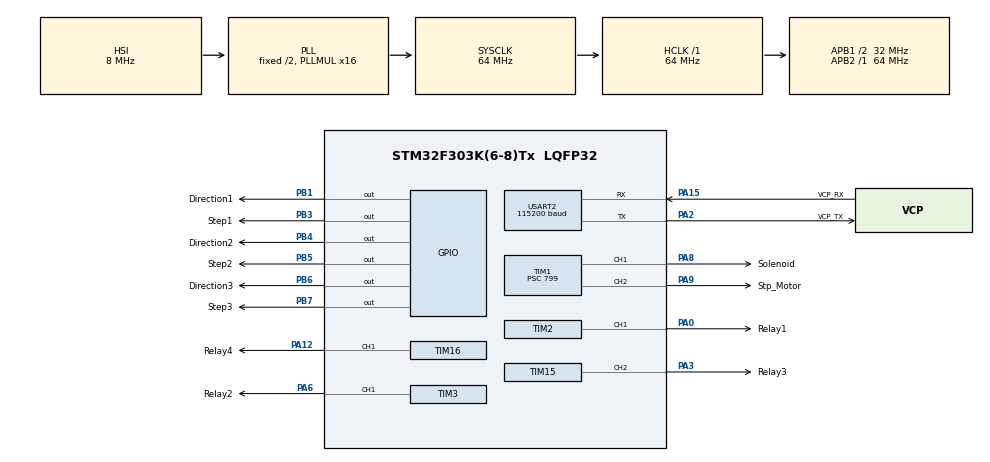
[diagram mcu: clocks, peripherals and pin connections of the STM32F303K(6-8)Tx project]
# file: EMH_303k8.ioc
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Mcu.Family=STM32F3
Mcu.Name=STM32F303K(6-8)Tx
Mcu.Package=LQFP32
NVIC.PriorityGroup=NVIC_PRIORITYGROUP_4
NVIC.TIM1_TRG_COM_TIM17_IRQn=true\:0\:0\:false\:false\:true\:true\:true\:true
NVIC.TIM1_UP_TIM16_IRQn=true\:0\:0\:false\:false\:true\:true\:true\:true
NVIC.TIM6_DAC1_IRQn=true\:0\:0\:false\:false\:true\:true\:true\:true
NVIC.TIM7_DAC2_IRQn=true\:0\:0\:false\:false\:true\:true\:true\:true
NVIC.USART2_IRQn=true\:0\:0\:false\:false\:true\:true\:true\:true
PA0.GPIO_Label=Relay1
PA0.Signal=S_TIM2_CH1_ETR
PA12.GPIO_Label=Relay4
PA12.Signal=S_TIM16_CH1
PA13.GPIO_Label=SWDIO
PA13.Mode=Serial_Wire
PA13.Signal=SYS_JTMS-SWDIO
PA14.GPIO_Label=SWCLK
PA14.Mode=Serial_Wire
PA14.Signal=SYS_JTCK-SWCLK
PA15.GPIO_Label=VCP_RX
PA15.Mode=Asynchronous
PA15.Signal=USART2_RX
PA2.GPIO_Label=VCP_TX
PA2.Mode=Asynchronous
PA2.Signal=USART2_TX
PA3.GPIO_Label=Relay3
PA3.Signal=S_TIM15_CH2
PA6.GPIO_Label=Relay2
PA6.Signal=S_TIM3_CH1
PA8.GPIO_Label=Solenoid
PA8.Signal=S_TIM1_CH1
PA9.GPIO_Label=Stp_Motor
PA9.Signal=S_TIM1_CH2
PB1.GPIO_Label=Direction1
PB1.Signal=GPIO_Output
PB3.GPIO_Label=Step1
PB3.Signal=GPIO_Output
PB4.GPIO_Label=Direction2
PB4.Signal=GPIO_Output
PB5.GPIO_Label=Step2
PB5.Signal=GPIO_Output
PB6.GPIO_Label=Direction3
PB6.Signal=GPIO_Output
PB7.GPIO_Label=Step3
PB7.Signal=GPIO_Output
PF0\ /\ OSC_IN.GPIO_Label=MCO
PF0\ /\ OSC_IN.Mode=HSE-External-Clock-Source
PF0\ /\ OSC_IN.Signal=RCC_OSC_IN
ProjectManager.HeapSize=0x200
ProjectManager.StackSize=0x400
ProjectManager.TargetToolchain=STM32CubeIDE
RCC.AHBFreq_Value=64000000
RCC.APB1CLKDivider=RCC_HCLK_DIV2
RCC.APB1Freq_Value=32000000
RCC.APB1TimFreq_Value=64000000
RCC.APB2Freq_Value=64000000
RCC.APB2TimFreq_Value=64000000
RCC.CortexFreq_Value=64000000
RCC.HCLKFreq_Value=64000000
RCC.HSE_VALUE=8000000
RCC.HSI_VALUE=8000000
RCC.PLLMUL=RCC_PLL_MUL16
RCC.SYSCLKFreq_VALUE=64000000
RCC.SYSCLKSourceVirtual=RCC_SYSCLKSOURCE_PLLCLK
SH.S_TIM15_CH2.0=TIM15_CH2,PWM Generation2 CH2
SH.S_TIM16_CH1.0=TIM16_CH1,PWM Generation1 CH1
SH.S_TIM1_CH1.0=TIM1_CH1,PWM Generation1 CH1
SH.S_TIM1_CH2.0=TIM1_CH2,PWM Generation2 CH2
SH.S_TIM2_CH1_ETR.0=TIM2_CH1,PWM Generation1 CH1
SH.S_TIM3_CH1.0=TIM3_CH1,PWM Generation1 CH1
TIM1.Channel-PWM\ Generation1\ CH1=TIM_CHANNEL_1
TIM1.Channel-PWM\ Generation2\ CH2=TIM_CHANNEL_2
TIM1.Period=99
TIM1.Prescaler=799
TIM15.Channel-PWM\ Generation2\ CH2=TIM_CHANNEL_2
TIM15.Period=99
TIM15.Prescaler=799
TIM16.Channel=TIM_CHANNEL_1
TIM16.Period=99
TIM16.Prescaler=799
TIM17.AutoReloadPreload=TIM_AUTORELOAD_PRELOAD_ENABLE
TIM17.Period=99
TIM17.Prescaler=799
TIM2.Channel-PWM\ Generation1\ CH1=TIM_CHANNEL_1
TIM2.Period=99
TIM2.Prescaler=799
TIM3.Channel-PWM\ Generation1\ CH1=TIM_CHANNEL_1
TIM3.Period=99
TIM3.Prescaler=799
TIM6.AutoReloadPreload=TIM_AUTORELOAD_PRELOAD_ENABLE
TIM6.Period=99
TIM6.Prescaler=799
TIM7.AutoReloadPreload=TIM_AUTORELOAD_PRELOAD_ENABLE
TIM7.Period=99
TIM7.Prescaler=799
USART2.BaudRate=115200
USART2.VirtualMode-Asynchronous=VM_ASYNC
VP_TIM15_VS_ClockSourceINT.Mode=Internal
VP_TIM16_VS_ClockSourceINT.Mode=Enable_Timer
VP_TIM17_VS_ClockSourceINT.Mode=Enable_Timer
VP_TIM1_VS_ClockSourceINT.Mode=Internal
VP_TIM2_VS_ClockSourceINT.Mode=Internal
VP_TIM6_VS_ClockSourceINT.Mode=Enable_Timer
VP_TIM7_VS_ClockSourceINT.Mode=Enable_Timer
board=NUCLEO-F303K8

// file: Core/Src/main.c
/* USER CODE BEGIN Header */
/**
  ******************************************************************************
  * @file           : main.c
  * @brief          : Main program body
  ******************************************************************************
  * @attention
  *
  * Copyright (c) 2023 STMicroelectronics.
  * All rights reserved.
  *
  * This software is licensed under terms that can be found in the LICENSE file
  * in the root directory of this software component.
  * If no LICENSE file comes with this software, it is provided AS-IS.
  *
  ******************************************************************************
  */
/* USER CODE END Header */
#include "main.h"

/* USER CODE BEGIN Includes */
#include <math.h>
#include <stdlib.h>
/* USER CODE END Includes */

/* USER CODE BEGIN PD */
#define TimerNum 8
#define FloppyNum 3
/* USER CODE END PD */

TIM_HandleTypeDef htim1;
TIM_HandleTypeDef htim2;
TIM_HandleTypeDef htim3;
TIM_HandleTypeDef htim6;
TIM_HandleTypeDef htim7;
TIM_HandleTypeDef htim15;
TIM_HandleTypeDef htim16;
TIM_HandleTypeDef htim17;

UART_HandleTypeDef huart2;

/* USER CODE BEGIN PV */
GPIO_PinState currentState[FloppyNum] ={ GPIO_PIN_RESET};
uint8_t currentPosition[FloppyNum] = {0};

char dataLength[8];
char data[255];
char length[10];
uint8_t uartCnt = 0;
uint64_t dataLen;
uint16_t notes[10] = {0};
uint16_t freqs[10] = {0};
double tmp[10] = {0};

const double timer_clock = 64e6;
const uint8_t timerPeriod = 100;

uint8_t arrayLen = 0;
GPIO_TypeDef* floppyPort[FloppyNum * 2] = {};
uint32_t floppyPin[FloppyNum * 2] = {};
TIM_HandleTypeDef times[TimerNum] = {};
/* USER CODE END PV */

void SystemClock_Config(void);
static void MX_GPIO_Init(void);
static void MX_USART2_UART_Init(void);
static void MX_TIM1_Init(void);
static void MX_TIM2_Init(void);
static void MX_TIM3_Init(void);
static void MX_TIM6_Init(void);
static void MX_TIM7_Init(void);
static void MX_TIM15_Init(void);
static void MX_TIM16_Init(void);
static void MX_TIM17_Init(void);

/* USER CODE BEGIN 0 */
//reset position of floppy
void resetStep(){
	for(uint8_t i = 0; i < FloppyNum * 2; i+=2){
		//i : Direction, i+1 : Step
		HAL_GPIO_WritePin(floppyPort[i], floppyPin[i], GPIO_PIN_SET);
		//LL_GPIO_SetOutputPin(floppyPort[i], floppyPin[i]);
		for(uint8_t j = 0; j < 79; j++){
			HAL_GPIO_WritePin(floppyPort[i+1], floppyPin[i+1], GPIO_PIN_SET);
			HAL_GPIO_WritePin(floppyPort[i+1], floppyPin[i+1], GPIO_PIN_RESET);
			HAL_Delay(10);
			//LL_GPIO_SetOutputPin(floppyPort[i+1], floppyPin[i+1]);
			//LL_GPIO_ResetOutputPin(floppyPort[i+1], floppyPin[i+1]);
		}
		currentPosition[i / 2] = 0;
		currentState[i / 2] = GPIO_PIN_RESET;
		HAL_GPIO_WritePin(floppyPort[i], floppyPin[i], GPIO_PIN_RESET);
		//LL_GPIO_ResetOutputPin(floppyPort[i], floppyPin[i]);
	}
}

//Timer interrupt (floppy control only)
void HAL_TIM_PeriodElapsedCallback(TIM_HandleTypeDef *htim)
{
	uint8_t timerIdx = 0;
	for(; timerIdx < TimerNum; timerIdx++){
		if(htim->Instance == times[timerIdx].Instance)
			break;
	}
	if(timerIdx >= 5 && timerIdx < TimerNum){
		//Update position
		//timer : 5 --> floppy : 0, 1
		//timer : 6 --> floppy : 2, 3
		//timer : 7 --> floppy : 4, 5
		uint8_t floppyIdx = timerIdx - 5;
		currentPosition[floppyIdx] = (currentState[floppyIdx] == GPIO_PIN_SET) ? currentPosition[floppyIdx] - 1 : currentPosition[floppyIdx] + 1;
		if(currentPosition[floppyIdx] <= 0){
			currentState[floppyIdx] = GPIO_PIN_RESET;
			HAL_GPIO_WritePin(floppyPort[floppyIdx * 2], floppyPin[floppyIdx * 2], currentState[floppyIdx]);
			//LL_GPIO_ResetOutputPin(floppyPort[(timerIdx - 5) * 2], floppyPin[(timerIdx - 5) * 2]);
		}else if(currentPosition[floppyIdx] >= 158){
			currentState[floppyIdx] = GPIO_PIN_SET;
			HAL_GPIO_WritePin(floppyPort[floppyIdx * 2], floppyPin[floppyIdx * 2], currentState[floppyIdx]);
			//LL_GPIO_SetOutputPin(floppyPort[(timerIdx - 5) * 2], floppyPin[(timerIdx - 5) * 2]);
		}
		HAL_GPIO_TogglePin(floppyPort[floppyIdx * 2 + 1], floppyPin[floppyIdx * 2 + 1]);
		//LL_GPIO_TogglePin(floppyPort[(timerIdx - 5) * 2 + 1], floppyPin[(timerIdx - 5) * 2 + 1]);
	}
}

//Set frequency of Timer
void setTimer(uint8_t part, TIM_HandleTypeDef htim, uint32_t prescaler, uint32_t pwm){

  if(pwm > 99) pwm = 99;
  if(prescaler < 0) prescaler = 799;

  htim.Instance = htim.Instance;
  htim.Init.Prescaler = prescaler;
  htim.Init.CounterMode = TIM_COUNTERMODE_UP;
  htim.Init.Period = timerPeriod - 1;	//because of start with 0
  htim.Init.ClockDivision = TIM_CLOCKDIVISION_DIV1;
  htim.Init.AutoReloadPreload = TIM_AUTORELOAD_PRELOAD_ENABLE;

	if(part < 5){
		TIM_OC_InitTypeDef sConfigOC = {0};	//pwm setting only
	  HAL_TIM_PWM_Init(&htim);

	  sConfigOC.OCMode = TIM_OCMODE_PWM1;
	  sConfigOC.Pulse = pwm;
	  //set duty
	  sConfigOC.OCPolarity = TIM_OCPOLARITY_HIGH;
	  sConfigOC.OCFastMode = TIM_OCFAST_DISABLE;
	  sConfigOC.OCIdleState = TIM_OCIDLESTATE_RESET;
	  sConfigOC.OCNIdleState = TIM_OCNIDLESTATE_RESET;
	  HAL_TIM_PWM_ConfigChannel(&htim, &sConfigOC, TIM_CHANNEL_1);
	  HAL_TIM_PWM_ConfigChannel(&htim, &sConfigOC, TIM_CHANNEL_2);

	  //start
	  HAL_TIM_PWM_Start(&htim, TIM_CHANNEL_1);
	  HAL_TIM_PWM_Start(&htim, TIM_CHANNEL_2);	//stp_motor only

	}else{
	  HAL_TIM_Base_Init(&htim);
	  // start
	  HAL_TIM_Base_Start_IT(&htim);
	}

}

//Convert note number to frequency
float NoteConvert(uint16_t noteNum){
	int64_t tmp = noteNum - 69;
	double exp = (double)tmp / 12.0;
	double freq = 440 * pow(2.0, exp);
	return (float)freq;
}

//Serial interrupt
void HAL_UART_RxCpltCallback(UART_HandleTypeDef *huart)
{
	if(uartCnt){
		uint8_t part = 0;
		uint64_t lastIdx = 0;
		for(uint64_t i = 0; i < dataLen; i++){
			uint8_t Idx = i - lastIdx;
			data[i] &= 0x0f;
			if(Idx < 4){
				part |= data[i] << (3 - Idx);
			}else if(Idx < 5){
				if(data[i] == 0){
					lastIdx = i + 1;
					freqs[part] = 0;
					notes[part] = 0;
					if(part < TimerNum){
						if(part < 5){

							HAL_TIM_PWM_Stop(&times[part], TIM_CHANNEL_1);
							HAL_TIM_PWM_Stop(&times[part], TIM_CHANNEL_2);	//stp_motor only
						}
						else{
							HAL_TIM_Base_Stop_IT(&times[part]);
						}
					}
					part = 0;
				}
			}else if(Idx < 13){
				notes[part] |= data[i] << (12 - Idx);
			}else{
				freqs[part] = (uint16_t)NoteConvert(notes[part]);
				if(part < TimerNum){
					//double the frequency if it is floppy
					uint32_t duty = 50;
					if(part >= 5){
						freqs[part] *= 2;
					}else if(part > 0){
						if(notes[i] < 30){
							duty = 20;
						}else if(notes[i] < 40){
							duty = 30;
						}else if(notes[i] < 50){
							duty = 35;
						}else if(notes[i] < 60){
							duty = 40;
						}else if(notes[i] < 70){
							duty = 45;
						}else if(notes[i] < 75){
							duty = 50;
						}else if(notes[i] < 80){
							duty = 55;
						}else{
							duty = 60;
						}
					}
					setTimer(part, times[part], (timer_clock / (freqs[part] * timerPeriod) - 1), duty);
				}
				lastIdx = i;
				part = 0;
			}
			if(i == dataLen - 1){
				freqs[part] = (uint16_t)NoteConvert(notes[part]);
				if(part < TimerNum){
					//double the frequency if it is floppy
					uint32_t duty = 50;
					/*if(part >= 5){
						freqs[part] *= 2;
					}else if(part > 0){
						if(notes[i] < 30){
							duty = 20;
						}else if(notes[i] < 40){
							duty = 30;
						}else if(notes[i] < 50){
							duty = 35;
						}else if(notes[i] < 60){
							duty = 40;
						}else if(notes[i] < 70){
							duty = 45;
						}else if(notes[i] < 75){
							duty = 50;
						}else if(notes[i] < 80){
							duty = 55;
						}else{
							duty = 60;
						}
					}*/
					setTimer(part, times[part], (timer_clock / (freqs[part] * timerPeriod) - 1), duty);
				}
				if(Idx < 5){
					lastIdx = i + 1;
					freqs[part] = 0;
					notes[part] = 0;
					if(part < TimerNum){
						if(part < 5){
							HAL_TIM_PWM_Stop(&times[part], TIM_CHANNEL_1);
							HAL_TIM_PWM_Stop(&times[part], TIM_CHANNEL_2);	//stp_motor only
						}else{
							HAL_TIM_Base_Stop_IT(&times[part]);
						}
					}
					part = 0;
				}
			}
		}
		uartCnt = 0;
		HAL_UART_Receive_IT(&huart2, (uint8_t *)dataLength, 8);
		return;
	}
	dataLen = 0;
	for(uint8_t i = 0; i < 8; i++){
		dataLength[i] &= 0x0f;
		dataLen |= dataLength[i] << (7 - i);
	}
	HAL_UART_Receive_IT(&huart2, (uint8_t *)data, dataLen);
	uartCnt++;
}

/* USER CODE END 0 */

int main(void)
{

  /* MCU Configuration--------------------------------------------------------*/

  /* Reset of all peripherals, Initializes the Flash interface and the Systick. */
  HAL_Init();

  /* Configure the system clock */
  SystemClock_Config();

  /* Initialize all configured peripherals */
  MX_GPIO_Init();
  MX_USART2_UART_Init();
  MX_TIM1_Init();
  MX_TIM2_Init();
  MX_TIM3_Init();
  MX_TIM6_Init();
  MX_TIM7_Init();
  MX_TIM15_Init();
  MX_TIM16_Init();
  MX_TIM17_Init();
  /* USER CODE BEGIN 2 */

  //floppy1 --> 0 : direction, 1 : step
  //floppy2 --> 2 : direction, 3 : step
  //floppy3 --> 4 : direction, 5 : step
  floppyPort[0] = Direction1_GPIO_Port;
  floppyPort[1] = Step1_GPIO_Port;
  floppyPort[2] = Direction2_GPIO_Port;
  floppyPort[3] = Step2_GPIO_Port;
  floppyPort[4] = Direction3_GPIO_Port;
  floppyPort[5] = Step3_GPIO_Port;
  floppyPin[0] = Direction1_Pin;
  floppyPin[1] = Step1_Pin;
  floppyPin[2] = Direction2_Pin;
  floppyPin[3] = Step2_Pin;
  floppyPin[4] = Direction3_Pin;
  floppyPin[5] = Step3_Pin;

  //Melody by Solenoid and Stp_Motor
  times[0] = htim1;
  //Drum by Relay
  times[1] = htim2;
  times[2] = htim3;
  times[3] = htim15;
  times[4] = htim16;
  //Base by FloppyDrive
  times[5] = htim6;
  times[6] = htim7;
  times[7] = htim17;

  //reset floppy
  resetStep();
  //start UART interrupt
  HAL_UART_Receive_IT(&huart2, (uint8_t *)dataLength, 8);

  /* USER CODE END 2 */

  /* Infinite loop */
  while (1)
  {

  }
}

void SystemClock_Config(void)
{
  RCC_OscInitTypeDef RCC_OscInitStruct = {0};
  RCC_ClkInitTypeDef RCC_ClkInitStruct = {0};
  RCC_PeriphCLKInitTypeDef PeriphClkInit = {0};

  /** Initializes the RCC Oscillators according to the specified parameters
  * in the RCC_OscInitTypeDef structure.
  */
  RCC_OscInitStruct.OscillatorType = RCC_OSCILLATORTYPE_HSI;
  RCC_OscInitStruct.HSIState = RCC_HSI_ON;
  RCC_OscInitStruct.HSICalibrationValue = RCC_HSICALIBRATION_DEFAULT;
  RCC_OscInitStruct.PLL.PLLState = RCC_PLL_ON;
  RCC_OscInitStruct.PLL.PLLSource = RCC_PLLSOURCE_HSI;
  RCC_OscInitStruct.PLL.PLLMUL = RCC_PLL_MUL16;
  if (HAL_RCC_OscConfig(&RCC_OscInitStruct) != HAL_OK)
  {
    Error_Handler();
  }

  /** Initializes the CPU, AHB and APB buses clocks
  */
  RCC_ClkInitStruct.ClockType = RCC_CLOCKTYPE_HCLK|RCC_CLOCKTYPE_SYSCLK
                              |RCC_CLOCKTYPE_PCLK1|RCC_CLOCKTYPE_PCLK2;
  RCC_ClkInitStruct.SYSCLKSource = RCC_SYSCLKSOURCE_PLLCLK;
  RCC_ClkInitStruct.AHBCLKDivider = RCC_SYSCLK_DIV1;
  RCC_ClkInitStruct.APB1CLKDivider = RCC_HCLK_DIV2;
  RCC_ClkInitStruct.APB2CLKDivider = RCC_HCLK_DIV1;

  if (HAL_RCC_ClockConfig(&RCC_ClkInitStruct, FLASH_LATENCY_2) != HAL_OK)
  {
    Error_Handler();
  }
  PeriphClkInit.PeriphClockSelection = RCC_PERIPHCLK_TIM1;
  PeriphClkInit.Tim1ClockSelection = RCC_TIM1CLK_HCLK;
  if (HAL_RCCEx_PeriphCLKConfig(&PeriphClkInit) != HAL_OK)
  {
    Error_Handler();
  }
}

static void MX_TIM1_Init(void)
{

  TIM_ClockConfigTypeDef sClockSourceConfig = {0};
  TIM_MasterConfigTypeDef sMasterConfig = {0};
  TIM_OC_InitTypeDef sConfigOC = {0};
  TIM_BreakDeadTimeConfigTypeDef sBreakDeadTimeConfig = {0};

  htim1.Instance = TIM1;
  htim1.Init.Prescaler = 799;
  htim1.Init.CounterMode = TIM_COUNTERMODE_UP;
  htim1.Init.Period = 99;
  htim1.Init.ClockDivision = TIM_CLOCKDIVISION_DIV1;
  htim1.Init.RepetitionCounter = 0;
  htim1.Init.AutoReloadPreload = TIM_AUTORELOAD_PRELOAD_DISABLE;
  if (HAL_TIM_Base_Init(&htim1) != HAL_OK)
  {
    Error_Handler();
  }
  sClockSourceConfig.ClockSource = TIM_CLOCKSOURCE_INTERNAL;
  if (HAL_TIM_ConfigClockSource(&htim1, &sClockSourceConfig) != HAL_OK)
  {
    Error_Handler();
  }
  if (HAL_TIM_PWM_Init(&htim1) != HAL_OK)
  {
    Error_Handler();
  }
  sMasterConfig.MasterOutputTrigger = TIM_TRGO_RESET;
  sMasterConfig.MasterOutputTrigger2 = TIM_TRGO2_RESET;
  sMasterConfig.MasterSlaveMode = TIM_MASTERSLAVEMODE_DISABLE;
  if (HAL_TIMEx_MasterConfigSynchronization(&htim1, &sMasterConfig) != HAL_OK)
  {
    Error_Handler();
  }
  sConfigOC.OCMode = TIM_OCMODE_PWM1;
  sConfigOC.Pulse = 0;
  sConfigOC.OCPolarity = TIM_OCPOLARITY_HIGH;
  sConfigOC.OCNPolarity = TIM_OCNPOLARITY_HIGH;
  sConfigOC.OCFastMode = TIM_OCFAST_DISABLE;
  sConfigOC.OCIdleState = TIM_OCIDLESTATE_RESET;
  sConfigOC.OCNIdleState = TIM_OCNIDLESTATE_RESET;
  if (HAL_TIM_PWM_ConfigChannel(&htim1, &sConfigOC, TIM_CHANNEL_1) != HAL_OK)
  {
    Error_Handler();
  }
  if (HAL_TIM_PWM_ConfigChannel(&htim1, &sConfigOC, TIM_CHANNEL_2) != HAL_OK)
  {
    Error_Handler();
  }
  sBreakDeadTimeConfig.OffStateRunMode = TIM_OSSR_DISABLE;
  sBreakDeadTimeConfig.OffStateIDLEMode = TIM_OSSI_DISABLE;
  sBreakDeadTimeConfig.LockLevel = TIM_LOCKLEVEL_OFF;
  sBreakDeadTimeConfig.DeadTime = 0;
  sBreakDeadTimeConfig.BreakState = TIM_BREAK_DISABLE;
  sBreakDeadTimeConfig.BreakPolarity = TIM_BREAKPOLARITY_HIGH;
  sBreakDeadTimeConfig.BreakFilter = 0;
  sBreakDeadTimeConfig.Break2State = TIM_BREAK2_DISABLE;
  sBreakDeadTimeConfig.Break2Polarity = TIM_BREAK2POLARITY_HIGH;
  sBreakDeadTimeConfig.Break2Filter = 0;
  sBreakDeadTimeConfig.AutomaticOutput = TIM_AUTOMATICOUTPUT_DISABLE;
  if (HAL_TIMEx_ConfigBreakDeadTime(&htim1, &sBreakDeadTimeConfig) != HAL_OK)
  {
    Error_Handler();
  }
  HAL_TIM_MspPostInit(&htim1);

}

static void MX_TIM2_Init(void)
{

  TIM_ClockConfigTypeDef sClockSourceConfig = {0};
  TIM_MasterConfigTypeDef sMasterConfig = {0};
  TIM_OC_InitTypeDef sConfigOC = {0};

  htim2.Instance = TIM2;
  htim2.Init.Prescaler = 799;
  htim2.Init.CounterMode = TIM_COUNTERMODE_UP;
  htim2.Init.Period = 99;
  htim2.Init.ClockDivision = TIM_CLOCKDIVISION_DIV1;
  htim2.Init.AutoReloadPreload = TIM_AUTORELOAD_PRELOAD_DISABLE;
  if (HAL_TIM_Base_Init(&htim2) != HAL_OK)
  {
    Error_Handler();
  }
  sClockSourceConfig.ClockSource = TIM_CLOCKSOURCE_INTERNAL;
  if (HAL_TIM_ConfigClockSource(&htim2, &sClockSourceConfig) != HAL_OK)
  {
    Error_Handler();
  }
  if (HAL_TIM_PWM_Init(&htim2) != HAL_OK)
  {
    Error_Handler();
  }
  sMasterConfig.MasterOutputTrigger = TIM_TRGO_RESET;
  sMasterConfig.MasterSlaveMode = TIM_MASTERSLAVEMODE_DISABLE;
  if (HAL_TIMEx_MasterConfigSynchronization(&htim2, &sMasterConfig) != HAL_OK)
  {
    Error_Handler();
  }
  sConfigOC.OCMode = TIM_OCMODE_PWM1;
  sConfigOC.Pulse = 0;
  sConfigOC.OCPolarity = TIM_OCPOLARITY_HIGH;
  sConfigOC.OCFastMode = TIM_OCFAST_DISABLE;
  if (HAL_TIM_PWM_ConfigChannel(&htim2, &sConfigOC, TIM_CHANNEL_1) != HAL_OK)
  {
    Error_Handler();
  }
  HAL_TIM_MspPostInit(&htim2);

}

static void MX_TIM3_Init(void)
{

  TIM_MasterConfigTypeDef sMasterConfig = {0};
  TIM_OC_InitTypeDef sConfigOC = {0};

  htim3.Instance = TIM3;
  htim3.Init.Prescaler = 799;
  htim3.Init.CounterMode = TIM_COUNTERMODE_UP;
  htim3.Init.Period = 99;
  htim3.Init.ClockDivision = TIM_CLOCKDIVISION_DIV1;
  htim3.Init.AutoReloadPreload = TIM_AUTORELOAD_PRELOAD_DISABLE;
  if (HAL_TIM_PWM_Init(&htim3) != HAL_OK)
  {
    Error_Handler();
  }
  sMasterConfig.MasterOutputTrigger = TIM_TRGO_RESET;
  sMasterConfig.MasterSlaveMode = TIM_MASTERSLAVEMODE_DISABLE;
  if (HAL_TIMEx_MasterConfigSynchronization(&htim3, &sMasterConfig) != HAL_OK)
  {
    Error_Handler();
  }
  sConfigOC.OCMode = TIM_OCMODE_PWM1;
  sConfigOC.Pulse = 0;
  sConfigOC.OCPolarity = TIM_OCPOLARITY_HIGH;
  sConfigOC.OCFastMode = TIM_OCFAST_DISABLE;
  if (HAL_TIM_PWM_ConfigChannel(&htim3, &sConfigOC, TIM_CHANNEL_1) != HAL_OK)
  {
    Error_Handler();
  }
  HAL_TIM_MspPostInit(&htim3);

}

static void MX_TIM6_Init(void)
{

  TIM_MasterConfigTypeDef sMasterConfig = {0};

  htim6.Instance = TIM6;
  htim6.Init.Prescaler = 799;
  htim6.Init.CounterMode = TIM_COUNTERMODE_UP;
  htim6.Init.Period = 99;
  htim6.Init.AutoReloadPreload = TIM_AUTORELOAD_PRELOAD_ENABLE;
  if (HAL_TIM_Base_Init(&htim6) != HAL_OK)
  {
    Error_Handler();
  }
  sMasterConfig.MasterOutputTrigger = TIM_TRGO_RESET;
  sMasterConfig.MasterSlaveMode = TIM_MASTERSLAVEMODE_DISABLE;
  if (HAL_TIMEx_MasterConfigSynchronization(&htim6, &sMasterConfig) != HAL_OK)
  {
    Error_Handler();
  }

}

static void MX_TIM7_Init(void)
{

  TIM_MasterConfigTypeDef sMasterConfig = {0};

  htim7.Instance = TIM7;
  htim7.Init.Prescaler = 799;
  htim7.Init.CounterMode = TIM_COUNTERMODE_UP;
  htim7.Init.Period = 99;
  htim7.Init.AutoReloadPreload = TIM_AUTORELOAD_PRELOAD_ENABLE;
  if (HAL_TIM_Base_Init(&htim7) != HAL_OK)
  {
    Error_Handler();
  }
  sMasterConfig.MasterOutputTrigger = TIM_TRGO_RESET;
  sMasterConfig.MasterSlaveMode = TIM_MASTERSLAVEMODE_DISABLE;
  if (HAL_TIMEx_MasterConfigSynchronization(&htim7, &sMasterConfig) != HAL_OK)
  {
    Error_Handler();
  }

}

static void MX_TIM15_Init(void)
{

  TIM_ClockConfigTypeDef sClockSourceConfig = {0};
  TIM_MasterConfigTypeDef sMasterConfig = {0};
  TIM_OC_InitTypeDef sConfigOC = {0};
  TIM_BreakDeadTimeConfigTypeDef sBreakDeadTimeConfig = {0};

  htim15.Instance = TIM15;
  htim15.Init.Prescaler = 799;
  htim15.Init.CounterMode = TIM_COUNTERMODE_UP;
  htim15.Init.Period = 99;
  htim15.Init.ClockDivision = TIM_CLOCKDIVISION_DIV1;
  htim15.Init.RepetitionCounter = 0;
  htim15.Init.AutoReloadPreload = TIM_AUTORELOAD_PRELOAD_DISABLE;
  if (HAL_TIM_Base_Init(&htim15) != HAL_OK)
  {
    Error_Handler();
  }
  sClockSourceConfig.ClockSource = TIM_CLOCKSOURCE_INTERNAL;
  if (HAL_TIM_ConfigClockSource(&htim15, &sClockSourceConfig) != HAL_OK)
  {
    Error_Handler();
  }
  if (HAL_TIM_PWM_Init(&htim15) != HAL_OK)
  {
    Error_Handler();
  }
  sMasterConfig.MasterOutputTrigger = TIM_TRGO_RESET;
  sMasterConfig.MasterSlaveMode = TIM_MASTERSLAVEMODE_DISABLE;
  if (HAL_TIMEx_MasterConfigSynchronization(&htim15, &sMasterConfig) != HAL_OK)
  {
    Error_Handler();
  }
  sConfigOC.OCMode = TIM_OCMODE_PWM1;
  sConfigOC.Pulse = 0;
  sConfigOC.OCPolarity = TIM_OCPOLARITY_HIGH;
  sConfigOC.OCNPolarity = TIM_OCNPOLARITY_HIGH;
  sConfigOC.OCFastMode = TIM_OCFAST_DISABLE;
  sConfigOC.OCIdleState = TIM_OCIDLESTATE_RESET;
  sConfigOC.OCNIdleState = TIM_OCNIDLESTATE_RESET;
  if (HAL_TIM_PWM_ConfigChannel(&htim15, &sConfigOC, TIM_CHANNEL_2) != HAL_OK)
  {
    Error_Handler();
  }
  sBreakDeadTimeConfig.OffStateRunMode = TIM_OSSR_DISABLE;
  sBreakDeadTimeConfig.OffStateIDLEMode = TIM_OSSI_DISABLE;
  sBreakDeadTimeConfig.LockLevel = TIM_LOCKLEVEL_OFF;
  sBreakDeadTimeConfig.DeadTime = 0;
  sBreakDeadTimeConfig.BreakState = TIM_BREAK_DISABLE;
  sBreakDeadTimeConfig.BreakPolarity = TIM_BREAKPOLARITY_HIGH;
  sBreakDeadTimeConfig.BreakFilter = 0;
  sBreakDeadTimeConfig.AutomaticOutput = TIM_AUTOMATICOUTPUT_DISABLE;
  if (HAL_TIMEx_ConfigBreakDeadTime(&htim15, &sBreakDeadTimeConfig) != HAL_OK)
  {
    Error_Handler();
  }
  HAL_TIM_MspPostInit(&htim15);

}

static void MX_TIM16_Init(void)
{

  TIM_OC_InitTypeDef sConfigOC = {0};
  TIM_BreakDeadTimeConfigTypeDef sBreakDeadTimeConfig = {0};

  htim16.Instance = TIM16;
  htim16.Init.Prescaler = 799;
  htim16.Init.CounterMode = TIM_COUNTERMODE_UP;
  htim16.Init.Period = 99;
  htim16.Init.ClockDivision = TIM_CLOCKDIVISION_DIV1;
  htim16.Init.RepetitionCounter = 0;
  htim16.Init.AutoReloadPreload = TIM_AUTORELOAD_PRELOAD_DISABLE;
  if (HAL_TIM_Base_Init(&htim16) != HAL_OK)
  {
    Error_Handler();
  }
  if (HAL_TIM_PWM_Init(&htim16) != HAL_OK)
  {
    Error_Handler();
  }
  sConfigOC.OCMode = TIM_OCMODE_PWM1;
  sConfigOC.Pulse = 0;
  sConfigOC.OCPolarity = TIM_OCPOLARITY_HIGH;
  sConfigOC.OCNPolarity = TIM_OCNPOLARITY_HIGH;
  sConfigOC.OCFastMode = TIM_OCFAST_DISABLE;
  sConfigOC.OCIdleState = TIM_OCIDLESTATE_RESET;
  sConfigOC.OCNIdleState = TIM_OCNIDLESTATE_RESET;
  if (HAL_TIM_PWM_ConfigChannel(&htim16, &sConfigOC, TIM_CHANNEL_1) != HAL_OK)
  {
    Error_Handler();
  }
  sBreakDeadTimeConfig.OffStateRunMode = TIM_OSSR_DISABLE;
  sBreakDeadTimeConfig.OffStateIDLEMode = TIM_OSSI_DISABLE;
  sBreakDeadTimeConfig.LockLevel = TIM_LOCKLEVEL_OFF;
  sBreakDeadTimeConfig.DeadTime = 0;
  sBreakDeadTimeConfig.BreakState = TIM_BREAK_DISABLE;
  sBreakDeadTimeConfig.BreakPolarity = TIM_BREAKPOLARITY_HIGH;
  sBreakDeadTimeConfig.BreakFilter = 0;
  sBreakDeadTimeConfig.AutomaticOutput = TIM_AUTOMATICOUTPUT_DISABLE;
  if (HAL_TIMEx_ConfigBreakDeadTime(&htim16, &sBreakDeadTimeConfig) != HAL_OK)
  {
    Error_Handler();
  }
  HAL_TIM_MspPostInit(&htim16);

}

static void MX_TIM17_Init(void)
{

  htim17.Instance = TIM17;
  htim17.Init.Prescaler = 799;
  htim17.Init.CounterMode = TIM_COUNTERMODE_UP;
  htim17.Init.Period = 99;
  htim17.Init.ClockDivision = TIM_CLOCKDIVISION_DIV1;
  htim17.Init.RepetitionCounter = 0;
  htim17.Init.AutoReloadPreload = TIM_AUTORELOAD_PRELOAD_ENABLE;
  if (HAL_TIM_Base_Init(&htim17) != HAL_OK)
  {
    Error_Handler();
  }

}

static void MX_USART2_UART_Init(void)
{

  huart2.Instance = USART2;
  huart2.Init.BaudRate = 115200;
  huart2.Init.WordLength = UART_WORDLENGTH_8B;
  huart2.Init.StopBits = UART_STOPBITS_1;
  huart2.Init.Parity = UART_PARITY_NONE;
  huart2.Init.Mode = UART_MODE_TX_RX;
  huart2.Init.HwFlowCtl = UART_HWCONTROL_NONE;
  huart2.Init.OverSampling = UART_OVERSAMPLING_16;
  huart2.Init.OneBitSampling = UART_ONE_BIT_SAMPLE_DISABLE;
  huart2.AdvancedInit.AdvFeatureInit = UART_ADVFEATURE_NO_INIT;
  if (HAL_UART_Init(&huart2) != HAL_OK)
  {
    Error_Handler();
  }

}

static void MX_GPIO_Init(void)
{
  GPIO_InitTypeDef GPIO_InitStruct = {0};

  /* GPIO Ports Clock Enable */
  __HAL_RCC_GPIOF_CLK_ENABLE();
  __HAL_RCC_GPIOA_CLK_ENABLE();
  __HAL_RCC_GPIOB_CLK_ENABLE();

  /*Configure GPIO pin Output Level */
  HAL_GPIO_WritePin(GPIOB, Direction1_Pin|Step1_Pin|Direction2_Pin|Step2_Pin
                          |Direction3_Pin|Step3_Pin, GPIO_PIN_RESET);

  /*Configure GPIO pins : Direction1_Pin Step1_Pin Direction2_Pin Step2_Pin
                           Direction3_Pin Step3_Pin */
  GPIO_InitStruct.Pin = Direction1_Pin|Step1_Pin|Direction2_Pin|Step2_Pin
                          |Direction3_Pin|Step3_Pin;
  GPIO_InitStruct.Mode = GPIO_MODE_OUTPUT_PP;
  GPIO_InitStruct.Pull = GPIO_NOPULL;
  GPIO_InitStruct.Speed = GPIO_SPEED_FREQ_LOW;
  HAL_GPIO_Init(GPIOB, &GPIO_InitStruct);

}

void Error_Handler(void)
{
  __disable_irq();
  while (1)
  {
  }
}
